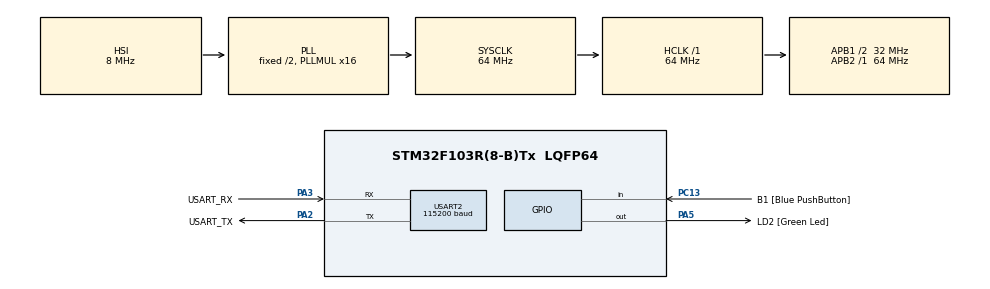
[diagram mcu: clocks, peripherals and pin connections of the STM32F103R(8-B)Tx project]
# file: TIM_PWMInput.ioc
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Mcu.Family=STM32F1
Mcu.Name=STM32F103R(8-B)Tx
Mcu.Package=LQFP64
NVIC.PriorityGroup=NVIC_PRIORITYGROUP_4
NVIC.TIM2_IRQn=true\:1\:0\:false\:false\:true\:true\:true\:true
PA0-WKUP.GPIO_Label=PWMI_IN
PA0-WKUP.GPIO_PuPd=GPIO_NOPULL
PA0-WKUP.Signal=S_TIM2_CH1_ETR
PA13.GPIO_Label=TMS
PA13.Mode=Serial_Wire
PA13.Signal=SYS_JTMS-SWDIO
PA14.GPIO_Label=TCK
PA14.Mode=Serial_Wire
PA14.Signal=SYS_JTCK-SWCLK
PA2.GPIO_Label=USART_TX
PA2.GPIO_Mode=GPIO_MODE_AF_PP
PA2.GPIO_PuPd=GPIO_NOPULL
PA2.GPIO_Speed=GPIO_SPEED_FREQ_LOW
PA2.Mode=Asynchronous
PA2.Signal=USART2_TX
PA3.GPIO_Label=USART_RX
PA3.GPIO_PuPd=GPIO_NOPULL
PA3.GPIO_Speed=GPIO_SPEED_FREQ_LOW
PA3.Mode=Asynchronous
PA3.Signal=USART2_RX
PA5.GPIO_Label=LD2 [Green Led]
PA5.GPIO_ModeDefaultOutputPP=GPIO_MODE_OUTPUT_PP
PA5.GPIO_PuPd=GPIO_NOPULL
PA5.GPIO_Speed=GPIO_SPEED_FREQ_LOW
PA5.Signal=GPIO_Output
PA6.GPIO_Label=TEST_PWM
PA6.GPIO_Speed=GPIO_SPEED_FREQ_HIGH
PA6.Signal=TIM3_CH1
PB3.GPIO_Label=SWO
PB3.Signal=SYS_JTDO-TRACESWO
PC13-TAMPER-RTC.GPIO_Label=B1 [Blue PushButton]
PC13-TAMPER-RTC.GPIO_PuPd=GPIO_NOPULL
PC13-TAMPER-RTC.Signal=GPIO_Input
PC14-OSC32_IN.Mode=LSE-External-Oscillator
PC14-OSC32_IN.Signal=RCC_OSC32_IN
PC15-OSC32_OUT.Mode=LSE-External-Oscillator
PC15-OSC32_OUT.Signal=RCC_OSC32_OUT
PD0-OSC_IN.Mode=HSE-External-Clock-Source
PD0-OSC_IN.Signal=RCC_OSC_IN
PD1-OSC_OUT.Mode=HSE-External-Clock-Source
PD1-OSC_OUT.Signal=RCC_OSC_OUT
ProjectManager.HeapSize=0x200
ProjectManager.StackSize=0x400
ProjectManager.TargetToolchain=STM32CubeIDE
RCC.AHBFreq_Value=64000000
RCC.APB1CLKDivider=RCC_HCLK_DIV2
RCC.APB1Freq_Value=32000000
RCC.APB1TimFreq_Value=64000000
RCC.APB2Freq_Value=64000000
RCC.APB2TimFreq_Value=64000000
RCC.HCLKFreq_Value=64000000
RCC.PLLMUL=RCC_PLL_MUL16
RCC.RTCClockSelection=RCC_RTCCLKSOURCE_LSE
RCC.SYSCLKFreq_VALUE=64000000
RCC.SYSCLKSource=RCC_SYSCLKSOURCE_PLLCLK
RCC.USBFreq_Value=64000000
TIM2.Channel=TIM_CHANNEL_1
TIM2.IC2Polarity=TIM_INPUTCHANNELPOLARITY_FALLING
TIM2.IC2Selection=TIM_ICSELECTION_INDIRECTTI
TIM2.InputTrigger=TIM_TS_TI1FP1
TIM2.Period=65535
TIM2.Prescaler=63
TIM2.SlaveMode=TIM_SLAVEMODE_RESET
TIM3.Channel-PWM Generation1 CH1=TIM_CHANNEL_1
TIM3.Period=999
TIM3.Prescaler=63
TIM3.Pulse-PWM Generation1 CH1=500
USART2.BaudRate=115200
USART2.VirtualMode=VM_ASYNC
board=NUCLEO-F103RB

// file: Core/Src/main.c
/* USER CODE BEGIN Header */
/**
 ******************************************************************************
 * @file           : main.c
 * @brief          : Main program body
 ******************************************************************************
 * @attention
 *
 * Copyright (c) 2026 STMicroelectronics.
 * All rights reserved.
 *
 * This software is licensed under terms that can be found in the LICENSE file
 * in the root directory of this software component.
 * If no LICENSE file comes with this software, it is provided AS-IS.
 *
 ******************************************************************************
 */
/**
 * 06_TIM_PWMInput_HAL_c  —  [계층: HAL]  타이머 PWM 입력 모드: 하드웨어가 주기와 듀티를 동시에 측정
 *
 * 03_TIM_InputCapture(입력 캡처)은 CPU 가 두 캡처 값을 빼서 주기를 계산했다. PWM 입력 모드는 그것을 하드웨어로 자동화한다.
 *
 * 원리 (RM0008 15.3.6)  TIM2, 입력 핀 PA0(TI1)
 *   CH1 : TI1FP1  상승 에지에 캡처 -> CCR1 = 주기(카운트)  + 슬레이브 모드 "리셋" -> 상승 에지마다 카운터를 0 으로 리셋
 *   CH2 : TI1FP2  하강 에지에 캡처 (간접 선택, CC2S=10) -> CCR2 = 하이 구간 폭(카운트)
 *   => 상승 에지마다 카운터가 0 에서 다시 시작하므로, CCR1 이 곧 주기, CCR2 가 곧 펄스 폭. 나눗셈 한 번이면 듀티.
 *   TIM2->SMCR : SMS=100(리셋 모드), TS=101(TI1FP1)
 *
 * 동작
 *   - TIM3_CH1(PA6, 'D12')이 1kHz PWM 테스트 신호를 출력하고, B1(PC13)을 누를 때마다 듀티가 25% -> 50% -> 75% 로 바뀐다.
 *   - PA6 -> PA0 점퍼선을 연결하면 TIM2 가 주파수/듀티를 측정해 UART(115200)로 출력한다. (외부 신호 측정 시 PA0 에 직접 연결)
 *   - 측정 범위: 카운터 클럭 1MHz(1us), 16비트 -> 최저 약 15.3Hz. 카운트가 클수록 분해능이 좋으므로 입력 주파수에 맞춰 PSC 를 조정.
 *
 * ISR vs 콜백
 *   TIM2_IRQHandler (stm32f1xx_it.c, 진짜 ISR) -> HAL_TIM_IRQHandler() -> HAL_TIM_IC_CaptureCallback() (이 파일)
 *   (CH1 캡처 = 주기 한 개가 완성된 시점. 이때 CCR2 도 같은 주기의 하이 폭이 이미 들어 있다)
 */
/* USER CODE END Header */
#include "main.h"

/* USER CODE BEGIN Includes */
#include <stdio.h>
#include <string.h>
/* USER CODE END Includes */

TIM_HandleTypeDef htim2;      /* PWM 입력 측정 */
TIM_HandleTypeDef htim3;      /* 테스트 신호 발생 */
UART_HandleTypeDef huart2;

/* USER CODE BEGIN PV */
static volatile uint32_t period_ticks, high_ticks;
static volatile uint8_t have_sample;
/* USER CODE END PV */

void SystemClock_Config(void);
static void MX_GPIO_Init(void);
static void MX_TIM2_Init(void);
static void MX_TIM3_Init(void);
static void MX_USART2_UART_Init(void);

int main(void)
{

  /* USER CODE BEGIN 1 */
  char msg[80];
  /* USER CODE END 1 */

  /* MCU Configuration--------------------------------------------------------*/

  /* Reset of all peripherals, Initializes the Flash interface and the Systick. */
  HAL_Init();

  /* Configure the system clock */
  SystemClock_Config();

  /* Initialize all configured peripherals */
  MX_GPIO_Init();
  MX_TIM2_Init();
  MX_TIM3_Init();
  MX_USART2_UART_Init();
  /* USER CODE BEGIN 2 */
  /* TIM3_CH1 = PA6 테스트 PWM 시작: CCER.CC1E=1, CR1.CEN=1 */
  if (HAL_TIM_PWM_Start(&htim3, TIM_CHANNEL_1) != HAL_OK) Error_Handler();

  /* TIM2 PWM 입력 측정 시작 */
  if (HAL_TIM_IC_Start_IT(&htim2, TIM_CHANNEL_1) != HAL_OK) Error_Handler();   /* CH1 인터럽트(DIER.CC1IE=1): 주기 완성 통지 */
  if (HAL_TIM_IC_Start(&htim2, TIM_CHANNEL_2) != HAL_OK) Error_Handler();      /* CH2 는 값만 캡처 */

  static const uint16_t duty_ccr[3] = { 250, 500, 750 };           /* 25%, 50%, 75% (ARR=999+1 기준) */
  uint8_t di = 1;
  __HAL_TIM_SET_COMPARE(&htim3, TIM_CHANNEL_1, duty_ccr[di]);      /* TIM3->CCR1 */

  uint32_t t_print = HAL_GetTick();
  /* USER CODE END 2 */

  /* Infinite loop */
  while (1)
  {

    /* USER CODE BEGIN 3 */
    if (HAL_GPIO_ReadPin(B1_GPIO_Port, B1_Pin) == GPIO_PIN_RESET)  /* B1: 듀티 변경 (GPIOC->IDR bit13) */
    {
      HAL_Delay(30);
      di = (uint8_t)((di + 1) % 3);
      __HAL_TIM_SET_COMPARE(&htim3, TIM_CHANNEL_1, duty_ccr[di]);
      while (HAL_GPIO_ReadPin(B1_GPIO_Port, B1_Pin) == GPIO_PIN_RESET) {}
    }

    if (HAL_GetTick() - t_print >= 500)
    {
      t_print += 500;

      __disable_irq();
      uint32_t p = period_ticks, h = high_ticks;
      uint8_t ok = have_sample;
      have_sample = 0;
      __enable_irq();

      int n;
      if (ok && p > 0)
        n = snprintf(msg, sizeof msg, "period=%lu us  freq=%lu Hz  high=%lu us  duty=%lu%% (set %u%%)\r\n",
                     (unsigned long)p, (unsigned long)(1000000UL / p), (unsigned long)h,
                     (unsigned long)(h * 100UL / p), (unsigned)(duty_ccr[di] / 10U));
      else
        n = snprintf(msg, sizeof msg, "no signal on PA0\r\n");
      HAL_UART_Transmit(&huart2, (uint8_t *)msg, (uint16_t)n, 100);
    }
  }
  /* USER CODE END 3 */
}

void SystemClock_Config(void)
{
  RCC_OscInitTypeDef RCC_OscInitStruct = {0};
  RCC_ClkInitTypeDef RCC_ClkInitStruct = {0};

  /** Initializes the RCC Oscillators according to the specified parameters
  * in the RCC_OscInitTypeDef structure.
  */
  RCC_OscInitStruct.OscillatorType = RCC_OSCILLATORTYPE_HSI;
  RCC_OscInitStruct.HSIState = RCC_HSI_ON;
  RCC_OscInitStruct.HSICalibrationValue = RCC_HSICALIBRATION_DEFAULT;
  RCC_OscInitStruct.PLL.PLLState = RCC_PLL_ON;
  RCC_OscInitStruct.PLL.PLLSource = RCC_PLLSOURCE_HSI_DIV2;
  RCC_OscInitStruct.PLL.PLLMUL = RCC_PLL_MUL16;
  if (HAL_RCC_OscConfig(&RCC_OscInitStruct) != HAL_OK)
  {
    Error_Handler();
  }

  /** Initializes the CPU, AHB and APB buses clocks
  */
  RCC_ClkInitStruct.ClockType = RCC_CLOCKTYPE_HCLK|RCC_CLOCKTYPE_SYSCLK
                              |RCC_CLOCKTYPE_PCLK1|RCC_CLOCKTYPE_PCLK2;
  RCC_ClkInitStruct.SYSCLKSource = RCC_SYSCLKSOURCE_PLLCLK;
  RCC_ClkInitStruct.AHBCLKDivider = RCC_SYSCLK_DIV1;
  RCC_ClkInitStruct.APB1CLKDivider = RCC_HCLK_DIV2;
  RCC_ClkInitStruct.APB2CLKDivider = RCC_HCLK_DIV1;

  if (HAL_RCC_ClockConfig(&RCC_ClkInitStruct, FLASH_LATENCY_2) != HAL_OK)
  {
    Error_Handler();
  }
}

static void MX_TIM2_Init(void)
{

  TIM_SlaveConfigTypeDef sSlaveConfig = {0};
  TIM_MasterConfigTypeDef sMasterConfig = {0};
  TIM_IC_InitTypeDef sConfigIC = {0};

  htim2.Instance = TIM2;
  htim2.Init.Prescaler = 63;
  htim2.Init.CounterMode = TIM_COUNTERMODE_UP;
  htim2.Init.Period = 65535;
  htim2.Init.ClockDivision = TIM_CLOCKDIVISION_DIV1;
  htim2.Init.AutoReloadPreload = TIM_AUTORELOAD_PRELOAD_DISABLE;
  if (HAL_TIM_IC_Init(&htim2) != HAL_OK)
  {
    Error_Handler();
  }
  sSlaveConfig.SlaveMode = TIM_SLAVEMODE_RESET;
  sSlaveConfig.InputTrigger = TIM_TS_TI1FP1;
  sSlaveConfig.TriggerPolarity = TIM_INPUTCHANNELPOLARITY_RISING;
  sSlaveConfig.TriggerFilter = 0;
  if (HAL_TIM_SlaveConfigSynchro(&htim2, &sSlaveConfig) != HAL_OK)
  {
    Error_Handler();
  }
  sConfigIC.ICPolarity = TIM_INPUTCHANNELPOLARITY_RISING;
  sConfigIC.ICSelection = TIM_ICSELECTION_DIRECTTI;
  sConfigIC.ICPrescaler = TIM_ICPSC_DIV1;
  sConfigIC.ICFilter = 0;
  if (HAL_TIM_IC_ConfigChannel(&htim2, &sConfigIC, TIM_CHANNEL_1) != HAL_OK)
  {
    Error_Handler();
  }
  sConfigIC.ICPolarity = TIM_INPUTCHANNELPOLARITY_FALLING;
  sConfigIC.ICSelection = TIM_ICSELECTION_INDIRECTTI;
  if (HAL_TIM_IC_ConfigChannel(&htim2, &sConfigIC, TIM_CHANNEL_2) != HAL_OK)
  {
    Error_Handler();
  }
  sMasterConfig.MasterOutputTrigger = TIM_TRGO_RESET;
  sMasterConfig.MasterSlaveMode = TIM_MASTERSLAVEMODE_DISABLE;
  if (HAL_TIMEx_MasterConfigSynchronization(&htim2, &sMasterConfig) != HAL_OK)
  {
    Error_Handler();
  }
  /* USER CODE BEGIN TIM2_Init 2 */
  /* PWM 입력 모드 (RM0008 15.3.6): CH1 = TI1FP1 상승 에지 (CC1S=01) -> CCR1 = 주기,
   * CH2 = TI1FP2 하강 에지 간접 선택 (CC2S=10) -> CCR2 = 하이 폭.
   * TIM2->SMCR : SMS=100 (리셋 모드), TS=101 (TI1FP1) -> 상승 에지마다 카운터를 0 으로 리셋 */
  /* USER CODE END TIM2_Init 2 */

}

static void MX_TIM3_Init(void)
{

  TIM_MasterConfigTypeDef sMasterConfig = {0};
  TIM_OC_InitTypeDef sConfigOC = {0};

  htim3.Instance = TIM3;
  htim3.Init.Prescaler = 63;
  htim3.Init.CounterMode = TIM_COUNTERMODE_UP;
  htim3.Init.Period = 999;
  htim3.Init.ClockDivision = TIM_CLOCKDIVISION_DIV1;
  htim3.Init.AutoReloadPreload = TIM_AUTORELOAD_PRELOAD_DISABLE;
  if (HAL_TIM_PWM_Init(&htim3) != HAL_OK)
  {
    Error_Handler();
  }
  sMasterConfig.MasterOutputTrigger = TIM_TRGO_RESET;
  sMasterConfig.MasterSlaveMode = TIM_MASTERSLAVEMODE_DISABLE;
  if (HAL_TIMEx_MasterConfigSynchronization(&htim3, &sMasterConfig) != HAL_OK)
  {
    Error_Handler();
  }
  sConfigOC.OCMode = TIM_OCMODE_PWM1;
  sConfigOC.Pulse = 500;
  sConfigOC.OCPolarity = TIM_OCPOLARITY_HIGH;
  sConfigOC.OCFastMode = TIM_OCFAST_DISABLE;
  if (HAL_TIM_PWM_ConfigChannel(&htim3, &sConfigOC, TIM_CHANNEL_1) != HAL_OK)
  {
    Error_Handler();
  }
  /* USER CODE BEGIN TIM3_Init 2 */
  /* TIM3_CH1 = PA6 : 1kHz (PSC=64-1 -> 1MHz, ARR=1000-1), 초기 듀티 CCR1=500 */
  /* USER CODE END TIM3_Init 2 */
  HAL_TIM_MspPostInit(&htim3);

}

static void MX_USART2_UART_Init(void)
{

  huart2.Instance = USART2;
  huart2.Init.BaudRate = 115200;
  huart2.Init.WordLength = UART_WORDLENGTH_8B;
  huart2.Init.StopBits = UART_STOPBITS_1;
  huart2.Init.Parity = UART_PARITY_NONE;
  huart2.Init.Mode = UART_MODE_TX_RX;
  huart2.Init.HwFlowCtl = UART_HWCONTROL_NONE;
  huart2.Init.OverSampling = UART_OVERSAMPLING_16;
  if (HAL_UART_Init(&huart2) != HAL_OK)
  {
    Error_Handler();
  }

}

static void MX_GPIO_Init(void)
{
  GPIO_InitTypeDef GPIO_InitStruct = {0};

  /* GPIO Ports Clock Enable */
  __HAL_RCC_GPIOC_CLK_ENABLE();
  __HAL_RCC_GPIOD_CLK_ENABLE();
  __HAL_RCC_GPIOA_CLK_ENABLE();
  __HAL_RCC_GPIOB_CLK_ENABLE();

  /*Configure GPIO pin Output Level */
  HAL_GPIO_WritePin(LD2_GPIO_Port, LD2_Pin, GPIO_PIN_RESET);

  /*Configure GPIO pin : B1_Pin */
  GPIO_InitStruct.Pin = B1_Pin;
  GPIO_InitStruct.Mode = GPIO_MODE_INPUT;
  GPIO_InitStruct.Pull = GPIO_NOPULL;
  HAL_GPIO_Init(B1_GPIO_Port, &GPIO_InitStruct);

  /*Configure GPIO pin : LD2_Pin */
  GPIO_InitStruct.Pin = LD2_Pin;
  GPIO_InitStruct.Mode = GPIO_MODE_OUTPUT_PP;
  GPIO_InitStruct.Pull = GPIO_NOPULL;
  GPIO_InitStruct.Speed = GPIO_SPEED_FREQ_LOW;
  HAL_GPIO_Init(LD2_GPIO_Port, &GPIO_InitStruct);

}

/* USER CODE BEGIN 4 */
/* ------------------------------------------------------------------------- */
/* HAL 콜백 (ISR 아님): CH1 캡처 = 상승 에지에서 주기 한 개 완성                      */
/* ------------------------------------------------------------------------- */
void HAL_TIM_IC_CaptureCallback(TIM_HandleTypeDef *htim)
{
  if (htim->Instance == TIM2 && htim->Channel == HAL_TIM_ACTIVE_CHANNEL_1)
  {
    period_ticks = HAL_TIM_ReadCapturedValue(htim, TIM_CHANNEL_1);   /* TIM2->CCR1 (상승->상승) */
    high_ticks   = HAL_TIM_ReadCapturedValue(htim, TIM_CHANNEL_2);   /* TIM2->CCR2 (상승->하강) */
    have_sample = 1;
  }
}
/* USER CODE END 4 */

void Error_Handler(void)
{
  __disable_irq();
  while (1) {
  }
}
#ifdef USE_FULL_ASSERT
/**
  * @brief  Reports the name of the source file and the source line number
  *         where the assert_param error has occurred.
  * @param  file: pointer to the source file name
  * @param  line: assert_param error line source number
  * @retval None
  */
void assert_failed(uint8_t *file, uint32_t line)
{
  /* USER CODE BEGIN 6 */
  /* User can add his own implementation to report the file name and line
     number, ex: printf("Wrong parameters value: file %s on line %d\r\n", file,
     line) */
  /* USER CODE END 6 */
}
#endif /* USE_FULL_ASSERT */
